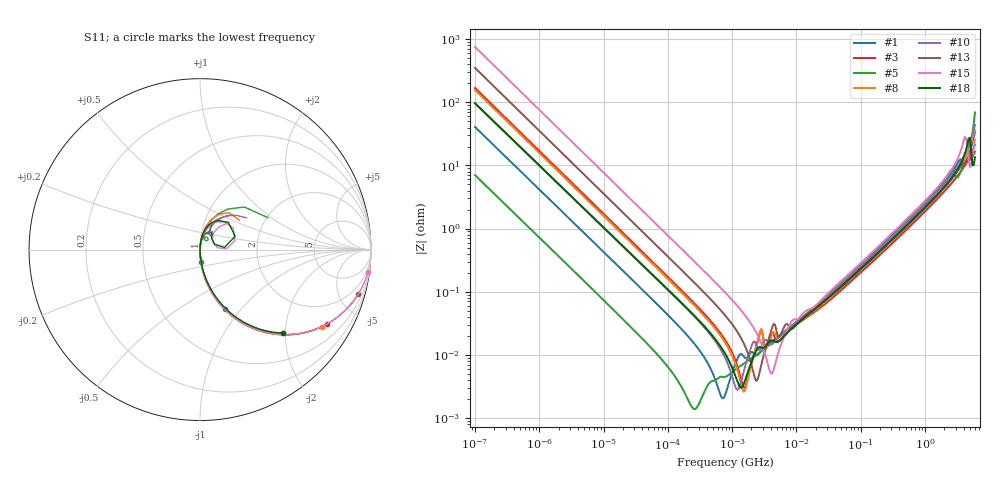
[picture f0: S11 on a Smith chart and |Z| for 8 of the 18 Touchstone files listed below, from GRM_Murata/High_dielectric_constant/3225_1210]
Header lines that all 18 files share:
!These Parameters are Measured in Series Mode Connection
!Data Generated on Mar 30, 2021
!  o--ll--o
!Port1  Port2
!  o------o
!Operation Temp=25[degC], DC Bias Voltage=0[V]
!Freq. Start=100[Hz] Stop=6[GHz] 401[Steps]
# Hz S RI R 50
!Freq.(Hz) S11(Real) S11(Imag) S21(Real) S21(Imag) S12(Real) S12(Imag) S22(Real) S22(Imag)
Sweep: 100 Hz to 6 GHz
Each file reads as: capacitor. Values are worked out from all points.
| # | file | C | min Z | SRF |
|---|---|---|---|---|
| 1 | GRM32EC81A476KE19.s2p | 38.9 uF | 2.04 mohm | 736 kHz |
| 2 | GRM32EE70G107ME19.s2p | 67.4 uF | 1.83 mohm | 558.3 kHz |
| 3 | GRM32ER6YA106KA12.s2p | 9.38 uF | 3.03 mohm | 1.578 MHz |
| 4 | GRM32ER11A226ME20.s2p | 21.6 uF | 2.4 mohm | 1.024 MHz |
| 5 | GRM32ER60E337ME05.s2p | 225 uF | 1.38 mohm | 275.1 kHz |
| 6 | GRM32ER60G227ME05.s2p | 173 uF | 1.45 mohm | 322.3 kHz |
| 7 | GRM32ER61A106KA01.s2p | 9.65 uF | 3.17 mohm | 1.545 MHz |
| 8 | GRM32ER61H106KA12.s2p | 10.1 uF | 2.59 mohm | 1.544 MHz |
| 9 | GRM32ER70J476ME20.s2p | 31.3 uF | 2.35 mohm | 845.4 kHz |
| 10 | GRM32ER71C226KEA8.s2p | 16.3 uF | 2.76 mohm | 1.233 MHz |
| 11 | GRM32ER71H475KA88.s2p | 4.56 uF | 3.76 mohm | 2.423 MHz |
| 12 | GRM32ER71J106KA12.s2p | 9.57 uF | 2.91 mohm | 1.541 MHz |
| 13 | GRM32ER71K475KE14.s2p | 4.51 uF | 3.85 mohm | 2.431 MHz |
| 14 | GRM32MB11H474KA01.s2p | 467 nF | 10.7 mohm | 9.501 MHz |
| 15 | GRM32MR11C225KA01.s2p | 2.1 uF | 4.99 mohm | 4.139 MHz |
| 16 | GRM32MR71H104KA01.s2p | 104 nF | 18 mohm | 19.31 MHz |
| 17 | GRM32NB11H684KA01.s2p | 674 nF | 8.61 mohm | 7.677 MHz |
| 18 | GRM32NC81A226ME19.s2p | 16.4 uF | 3.01 mohm | 1.409 MHz |
